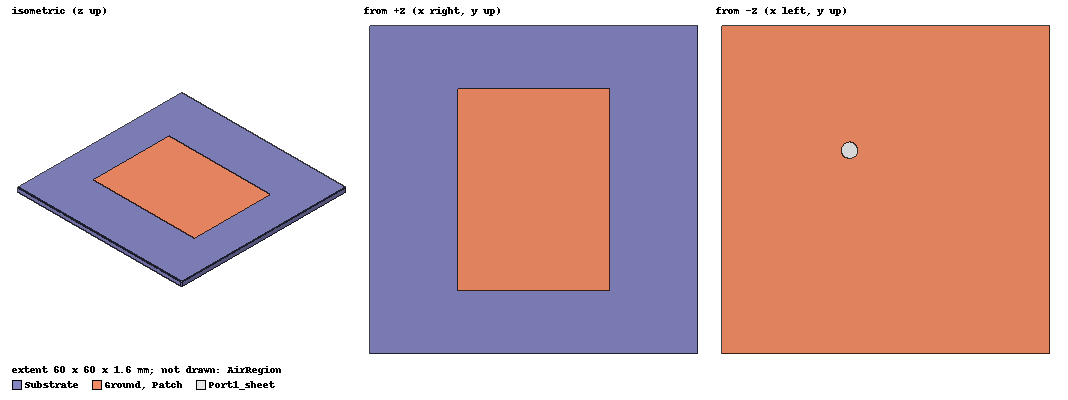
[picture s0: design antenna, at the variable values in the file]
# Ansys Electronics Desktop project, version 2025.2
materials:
  vacuum: permittivity=1
  AntennaSubstrate: permittivity=4.4 permeability=1 dielectric_loss_tangent=0.02
  copper: permeability=0.999991 conductivity=58000000
  air: permittivity=1.0006 permeability=1.0000004
  FR4_epoxy: permittivity=4.4 dielectric_loss_tangent=0.02

design antenna (HFSS, HFSS Modal Network, model units mm)
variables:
  sub_w = 60mm
  sub_l = 60mm
  sub_h = 1.6mm
  patch_l = 27.8mm
  patch_w = 37.1mm
  feed_x = 6.6mm
  feed_y = 7.2mm
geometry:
  Substrate [FR4_epoxy] = box(corner=(-30mm, -30mm, 0mm), size=(60mm, 60mm, 1.6mm))
  Ground [copper] = rectangle(corner=(-30mm, -30mm, 0mm), x_size=60mm, y_size=60mm)
  Patch [copper] = rectangle(corner=(-patch_l/2, -patch_w/2, 1.6mm), x_size=patch_l, y_size=patch_w)
  CoaxProbe [copper] = cylinder(axis=Z, base_centre=(feed_x, feed_y, 0mm), radius=0.6mm, height=1.6mm)
  Port1_sheet = circle(normal=Z, centre=(feed_x, feed_y, 0mm), radius=1.5mm)
  AirRegion [air] = region(absolute_offset: +X=40mm, -X=40mm, +Y=40mm, -Y=40mm, +Z=55mm, -Z=30mm)
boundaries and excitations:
  PEC_Metals: Perfect E Objects=[Ground, Patch]
  CoaxProbePEC: Perfect E Objects=CoaxProbe
  Rad1: Radiation Objects=AirRegion
  Port1: Lumped Port Objects=Port1_sheet LumpedPortType=Modal Modes{Mode1{IntLine{(6.6, 7.2, 0) -> (8.1, 7.2, 0)} CharImp=Zpi RenormImp=50ohm}} Impedance=50ohm
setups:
  Setup1: HfssDriven Frequency=2.45GHz MaxDeltaS=0.02 MaximumPasses=10 MinimumPasses=2 MinimumConvergedPasses=2 PercentRefinement=30 BasisOrder=1 PortAccuracy=2 DrivenSolverType="Direct Solver"
    sweep Sweep: 1.5GHz to 3GHz, 301 points; Type=Interpolating InterpTolerance=0.5 InterpMaxSolns=250 InterpUsePortImped=false PassivityErrorTolerance=0.0001
    sweep EfficiencySweepLow: 1.875GHz to 1.925GHz, 7 points; Type=Discrete SaveFields
    sweep EfficiencySweepHigh: 2.425GHz to 2.475GHz, 7 points; Type=Interpolating SaveFields InterpTolerance=0.5 InterpMaxSolns=250 InterpUsePortImped=false PassivityErrorTolerance=0.0001
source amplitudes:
  Port1:1: 1W 0deg
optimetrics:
  ParametricSetup1: Parametric Sim._Setups=[Setup1]
    sweep patch_w: LIN 37.05mm 37.15mm 0.025mm
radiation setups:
  InfiniteSphere1: Infinite Sphere Theta=0deg..180deg step 5deg Phi=-180deg..180deg step 5deg
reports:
  S Parameter Plot1: dB(S(Port1,Port1)) vs Freq on Setup1 : Sweep; markers MY1 at y=-9.98958
  Antenna Params Plot1: dB(PeakGain) vs Freq on Setup1 : EfficiencySweepLow; markers m1 at 1.9GHz
  Antenna Params Plot2: dB(PeakGain) vs Freq on Setup1 : EfficiencySweepHigh
  Antenna Params Plot3: TotalEfficiency vs Freq on Setup1 : EfficiencySweepLow
  Antenna Params Plot4: TotalEfficiency vs Freq on Setup1 : EfficiencySweepHigh
  S Parameter Plot2: dB(S(Port1,Port1)) vs Freq on Setup1 : Sweep [patch_w=all]; markers MY1 at y=-9.91667
  Antenna Params Plot5: dB(PeakGain) vs Freq on Setup1 : EfficiencySweepLow [patch_w=all]
  Antenna Params Plot7: TotalEfficiency vs Freq on Setup1 : EfficiencySweepLow [patch_w=all]; markers m1 at 1.875GHz, m2 at 1.8833333GHz, m3 at 1.8916667GHz, m4 at 1.9GHz, m5 at 1.9083333GHz, m6 at 1.925GHz, m7 at 1.9166667GHz
